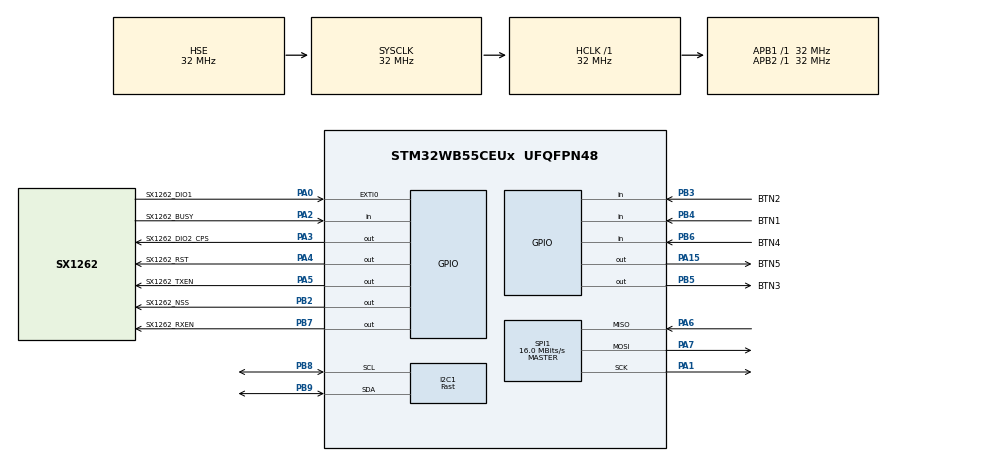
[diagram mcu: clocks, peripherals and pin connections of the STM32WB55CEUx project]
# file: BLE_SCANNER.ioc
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I2C1.I2C_Speed_Mode=I2C_Fast
I2C1.Timing=0x0060112F
Mcu.Family=STM32WB
Mcu.Name=STM32WB55CEUx
Mcu.Package=UFQFPN48
NVIC.HSEM_IRQn=true\:0\:0\:false\:false\:true\:false\:true\:true
NVIC.PriorityGroup=NVIC_PRIORITYGROUP_4
OSC_IN.Mode=HSE-External-Oscillator
OSC_IN.Signal=RCC_OSC_IN
OSC_OUT.Mode=HSE-External-Oscillator
OSC_OUT.Signal=RCC_OSC_OUT
PA0.GPIO_Label=SX1262_DIO1
PA0.Signal=GPXTI0
PA1.Mode=Full_Duplex_Master
PA1.Signal=SPI1_SCK
PA10.Signal=USART1_RX
PA15.GPIO_Label=BTN5
PA15.Signal=GPIO_Output
PA2.GPIO_Label=SX1262_BUSY
PA2.Signal=GPIO_Input
PA3.GPIO_Label=SX1262_DIO2_CPS
PA3.Signal=GPIO_Output
PA4.GPIO_Label=SX1262_RST
PA4.Signal=GPIO_Output
PA5.GPIO_Label=SX1262_TXEN
PA5.Signal=GPIO_Output
PA6.Mode=Full_Duplex_Master
PA6.Signal=SPI1_MISO
PA7.Mode=Full_Duplex_Master
PA7.Signal=SPI1_MOSI
PB2.GPIO_Label=SX1262_NSS
PB2.Signal=GPIO_Output
PB3.GPIO_Label=BTN2
PB3.Signal=GPIO_Input
PB4.GPIO_Label=BTN1
PB4.Signal=GPIO_Input
PB5.GPIO_Label=BTN3
PB5.Signal=GPIO_Output
PB6.GPIO_Label=BTN4
PB6.Signal=GPIO_Input
PB7.GPIO_Label=SX1262_RXEN
PB7.Signal=GPIO_Output
PB8.Mode=I2C
PB8.Signal=I2C1_SCL
PB9.Mode=I2C
PB9.Signal=I2C1_SDA
PC14-OSC32_IN.Mode=LSE-External-Oscillator
PC14-OSC32_IN.Signal=RCC_OSC32_IN
PC15-OSC32_OUT.Mode=LSE-External-Oscillator
PC15-OSC32_OUT.Signal=RCC_OSC32_OUT
ProjectManager.HeapSize=0x200
ProjectManager.StackSize=0x400
ProjectManager.TargetToolchain=STM32CubeIDE
RCC.ADCFreq_Value=128000000
RCC.AHBFreq_Value=32000000
RCC.APB1Freq_Value=32000000
RCC.APB1TimFreq_Value=32000000
RCC.APB2Freq_Value=32000000
RCC.APB2TimFreq_Value=32000000
RCC.APB3Freq_Value=16000000
RCC.CortexFreq_Value=32000000
RCC.HCLKFreq_Value=32000000
RCC.HSE_VALUE=32000000
RCC.HSI48_VALUE=48000000
RCC.HSI_VALUE=16000000
RCC.MSIClockRange=RCC_MSIRANGE_10
RCC.RFWKPClockSelection=RCC_RFWKPCLKSOURCE_LSE
RCC.RTCClockSelection=RCC_RTCCLKSOURCE_LSE
RCC.SMPSCLockSelection=RCC_SMPSCLKSOURCE_HSE
RCC.SMPSDivider=4
RCC.SYSCLKFreq_VALUE=32000000
RCC.SYSCLKSource=RCC_SYSCLKSOURCE_HSE
RCC.USBFreq_Value=128000000
RCC.VCOOutputFreq_Value=256000000
RF1.Mode=RF1_Activate
RF1.Signal=RF_RF1
SPI1.CalculateBaudRate=16.0 MBits/s
SPI1.DataSize=SPI_DATASIZE_8BIT
SPI1.Direction=SPI_DIRECTION_2LINES
SPI1.Mode=SPI_MODE_MASTER
SPI1.VirtualType=VM_MASTER
STM32_WPAN.BLE_APPLICATION_TYPE=BLE_CLIENT_PROFILE
VP_HSEM_VS_HSEM.Mode=HSEM_Activate
VP_IPCC_VS_IPCC.Mode=IPCC_Activate
VP_MEMORYMAP_VS_MEMORYMAP.Mode=CurAppReg
VP_RTC_VS_RTC_Activate.Mode=RTC_Enabled
VP_SEQUENCER_VS_SEQUENCER.Mode=SEQUENCER_Enabled
VP_STM32_WPAN_VS_BLE_HOST.Mode=STM32_WPAN_Enabled
VP_TIM1_VS_ClockSourceITR.Mode=TriggerSource_ITR0
VP_TIM1_VS_ControllerModeClock.Mode=Clock Mode
VP_TINY_LPM_VS_TINY_LPM.Mode=TINY_LPM_Enabled
board=custom

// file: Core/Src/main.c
/* USER CODE BEGIN Header */
/**
  ******************************************************************************
  * @file           : main.c
  * @brief          : Main program body
  ******************************************************************************
  * @attention
  *
  * Copyright (c) 2026 STMicroelectronics.
  * All rights reserved.
  *
  * This software is licensed under terms that can be found in the LICENSE file
  * in the root directory of this software component.
  * If no LICENSE file comes with this software, it is provided AS-IS.
  *
  ******************************************************************************
  */
/* USER CODE END Header */
#include "main.h"

/* USER CODE BEGIN Includes */
#include "ssd1306.h"
#include "fonts.h"
#include "app_ble.h"
#include "ble_gap_aci.h"
#include "stm32_seq.h"
#include <stdio.h>
/* USER CODE END Includes */

I2C_HandleTypeDef hi2c1;

IPCC_HandleTypeDef hipcc;

RTC_HandleTypeDef hrtc;

SPI_HandleTypeDef hspi1;

TIM_HandleTypeDef htim1;

void SystemClock_Config(void);
void PeriphCommonClock_Config(void);
static void MX_GPIO_Init(void);
static void MX_I2C1_Init(void);
static void MX_IPCC_Init(void);
static void MX_SPI1_Init(void);
static void MX_TIM1_Init(void);
static void MX_RTC_Init(void);
static void MX_RF_Init(void);
/* USER CODE BEGIN PFP */
void Button1_Poll(void);
void Write_TO_OLED();
void BLE_RECIEVE();
/* USER CODE END PFP */

/* USER CODE BEGIN 0 */
volatile uint8_t display_toggle = 1;
char oled_buffer[24];
int BLE_R = 0;
int BLE_M = 0;
int BLE_Dis = 1;
uint32_t now;
uint32_t last_update = 0;
const uint32_t update_interval = 1000;
/* USER CODE END 0 */

int main(void)
{

  /* MCU Configuration--------------------------------------------------------*/

  /* Reset of all peripherals, Initializes the Flash interface and the Systick. */
  HAL_Init();
  /* Config code for STM32_WPAN (HSE Tuning must be done before system clock configuration) */
  MX_APPE_Config();

  /* Configure the system clock */
  SystemClock_Config();

  /* Configure the peripherals common clocks */
  PeriphCommonClock_Config();

  /* IPCC initialisation */
  MX_IPCC_Init();

  /* Initialize all configured peripherals */
  MX_GPIO_Init();
  MX_I2C1_Init();
  MX_SPI1_Init();
  MX_TIM1_Init();
  MX_RTC_Init();
  MX_RF_Init();
  /* USER CODE BEGIN 2 */
	SSD1306_Init();
	SSD1306_Clear();
	SSD1306_GotoXY(0, 0);
	SSD1306_Puts("Please Input Command", &Font_7x10, 1);
	SSD1306_UpdateScreen();

  /* USER CODE END 2 */

  /* Init code for STM32_WPAN */
  MX_APPE_Init();

  /* Infinite loop */
  while (1)
  {
    MX_APPE_Process();

    /* USER CODE BEGIN 3 */
	Button1_Poll();
	BLE_RECIEVE();
  }
  /* USER CODE END 3 */
}

void SystemClock_Config(void)
{
  RCC_OscInitTypeDef RCC_OscInitStruct = {0};
  RCC_ClkInitTypeDef RCC_ClkInitStruct = {0};

  /** Configure LSE Drive Capability
  */
  HAL_PWR_EnableBkUpAccess();
  __HAL_RCC_LSEDRIVE_CONFIG(RCC_LSEDRIVE_MEDIUMHIGH);

  /** Configure the main internal regulator output voltage
  */
  __HAL_PWR_VOLTAGESCALING_CONFIG(PWR_REGULATOR_VOLTAGE_SCALE1);

  /** Initializes the RCC Oscillators according to the specified parameters
  * in the RCC_OscInitTypeDef structure.
  */
  RCC_OscInitStruct.OscillatorType = RCC_OSCILLATORTYPE_HSI|RCC_OSCILLATORTYPE_HSE
                              |RCC_OSCILLATORTYPE_LSE;
  RCC_OscInitStruct.HSEState = RCC_HSE_ON;
  RCC_OscInitStruct.LSEState = RCC_LSE_ON;
  RCC_OscInitStruct.HSIState = RCC_HSI_ON;
  RCC_OscInitStruct.HSICalibrationValue = RCC_HSICALIBRATION_DEFAULT;
  RCC_OscInitStruct.PLL.PLLState = RCC_PLL_NONE;
  if (HAL_RCC_OscConfig(&RCC_OscInitStruct) != HAL_OK)
  {
    Error_Handler();
  }

  /** Configure the SYSCLKSource, HCLK, PCLK1 and PCLK2 clocks dividers
  */
  RCC_ClkInitStruct.ClockType = RCC_CLOCKTYPE_HCLK4|RCC_CLOCKTYPE_HCLK2
                              |RCC_CLOCKTYPE_HCLK|RCC_CLOCKTYPE_SYSCLK
                              |RCC_CLOCKTYPE_PCLK1|RCC_CLOCKTYPE_PCLK2;
  RCC_ClkInitStruct.SYSCLKSource = RCC_SYSCLKSOURCE_HSE;
  RCC_ClkInitStruct.AHBCLKDivider = RCC_SYSCLK_DIV1;
  RCC_ClkInitStruct.APB1CLKDivider = RCC_HCLK_DIV1;
  RCC_ClkInitStruct.APB2CLKDivider = RCC_HCLK_DIV1;
  RCC_ClkInitStruct.AHBCLK2Divider = RCC_SYSCLK_DIV1;
  RCC_ClkInitStruct.AHBCLK4Divider = RCC_SYSCLK_DIV1;

  if (HAL_RCC_ClockConfig(&RCC_ClkInitStruct, FLASH_LATENCY_1) != HAL_OK)
  {
    Error_Handler();
  }
}

void PeriphCommonClock_Config(void)
{
  RCC_PeriphCLKInitTypeDef PeriphClkInitStruct = {0};

  /** Initializes the peripherals clock
  */
  PeriphClkInitStruct.PeriphClockSelection = RCC_PERIPHCLK_SMPS|RCC_PERIPHCLK_RFWAKEUP;
  PeriphClkInitStruct.RFWakeUpClockSelection = RCC_RFWKPCLKSOURCE_LSE;
  PeriphClkInitStruct.SmpsClockSelection = RCC_SMPSCLKSOURCE_HSE;
  PeriphClkInitStruct.SmpsDivSelection = RCC_SMPSCLKDIV_RANGE1;

  if (HAL_RCCEx_PeriphCLKConfig(&PeriphClkInitStruct) != HAL_OK)
  {
    Error_Handler();
  }
}

static void MX_I2C1_Init(void)
{

  hi2c1.Instance = I2C1;
  hi2c1.Init.Timing = 0x0060112F;
  hi2c1.Init.OwnAddress1 = 0;
  hi2c1.Init.AddressingMode = I2C_ADDRESSINGMODE_7BIT;
  hi2c1.Init.DualAddressMode = I2C_DUALADDRESS_DISABLE;
  hi2c1.Init.OwnAddress2 = 0;
  hi2c1.Init.OwnAddress2Masks = I2C_OA2_NOMASK;
  hi2c1.Init.GeneralCallMode = I2C_GENERALCALL_DISABLE;
  hi2c1.Init.NoStretchMode = I2C_NOSTRETCH_DISABLE;
  if (HAL_I2C_Init(&hi2c1) != HAL_OK)
  {
    Error_Handler();
  }

  /** Configure Analogue filter
  */
  if (HAL_I2CEx_ConfigAnalogFilter(&hi2c1, I2C_ANALOGFILTER_ENABLE) != HAL_OK)
  {
    Error_Handler();
  }

  /** Configure Digital filter
  */
  if (HAL_I2CEx_ConfigDigitalFilter(&hi2c1, 0) != HAL_OK)
  {
    Error_Handler();
  }

}

static void MX_IPCC_Init(void)
{

  hipcc.Instance = IPCC;
  if (HAL_IPCC_Init(&hipcc) != HAL_OK)
  {
    Error_Handler();
  }

}

static void MX_RF_Init(void)
{

}

static void MX_RTC_Init(void)
{

  /** Initialize RTC Only
  */
  hrtc.Instance = RTC;
  hrtc.Init.HourFormat = RTC_HOURFORMAT_24;
  hrtc.Init.AsynchPrediv = CFG_RTC_ASYNCH_PRESCALER;
  hrtc.Init.SynchPrediv = CFG_RTC_SYNCH_PRESCALER;
  hrtc.Init.OutPut = RTC_OUTPUT_DISABLE;
  hrtc.Init.OutPutPolarity = RTC_OUTPUT_POLARITY_HIGH;
  hrtc.Init.OutPutType = RTC_OUTPUT_TYPE_OPENDRAIN;
  hrtc.Init.OutPutRemap = RTC_OUTPUT_REMAP_NONE;
  if (HAL_RTC_Init(&hrtc) != HAL_OK)
  {
    Error_Handler();
  }

}

static void MX_SPI1_Init(void)
{

  /* SPI1 parameter configuration*/
  hspi1.Instance = SPI1;
  hspi1.Init.Mode = SPI_MODE_MASTER;
  hspi1.Init.Direction = SPI_DIRECTION_2LINES;
  hspi1.Init.DataSize = SPI_DATASIZE_8BIT;
  hspi1.Init.CLKPolarity = SPI_POLARITY_LOW;
  hspi1.Init.CLKPhase = SPI_PHASE_1EDGE;
  hspi1.Init.NSS = SPI_NSS_SOFT;
  hspi1.Init.BaudRatePrescaler = SPI_BAUDRATEPRESCALER_2;
  hspi1.Init.FirstBit = SPI_FIRSTBIT_MSB;
  hspi1.Init.TIMode = SPI_TIMODE_DISABLE;
  hspi1.Init.CRCCalculation = SPI_CRCCALCULATION_DISABLE;
  hspi1.Init.CRCPolynomial = 7;
  hspi1.Init.CRCLength = SPI_CRC_LENGTH_DATASIZE;
  hspi1.Init.NSSPMode = SPI_NSS_PULSE_ENABLE;
  if (HAL_SPI_Init(&hspi1) != HAL_OK)
  {
    Error_Handler();
  }

}

static void MX_TIM1_Init(void)
{

  TIM_SlaveConfigTypeDef sSlaveConfig = {0};
  TIM_MasterConfigTypeDef sMasterConfig = {0};

  htim1.Instance = TIM1;
  htim1.Init.Prescaler = 0;
  htim1.Init.CounterMode = TIM_COUNTERMODE_UP;
  htim1.Init.Period = 65535;
  htim1.Init.ClockDivision = TIM_CLOCKDIVISION_DIV1;
  htim1.Init.RepetitionCounter = 0;
  htim1.Init.AutoReloadPreload = TIM_AUTORELOAD_PRELOAD_DISABLE;
  if (HAL_TIM_Base_Init(&htim1) != HAL_OK)
  {
    Error_Handler();
  }
  sSlaveConfig.SlaveMode = TIM_SLAVEMODE_EXTERNAL1;
  sSlaveConfig.InputTrigger = TIM_TS_ITR0;
  if (HAL_TIM_SlaveConfigSynchro(&htim1, &sSlaveConfig) != HAL_OK)
  {
    Error_Handler();
  }
  sMasterConfig.MasterOutputTrigger = TIM_TRGO_RESET;
  sMasterConfig.MasterOutputTrigger2 = TIM_TRGO2_RESET;
  sMasterConfig.MasterSlaveMode = TIM_MASTERSLAVEMODE_DISABLE;
  if (HAL_TIMEx_MasterConfigSynchronization(&htim1, &sMasterConfig) != HAL_OK)
  {
    Error_Handler();
  }

}

static void MX_GPIO_Init(void)
{
  GPIO_InitTypeDef GPIO_InitStruct = {0};

  /* GPIO Ports Clock Enable */
  __HAL_RCC_GPIOC_CLK_ENABLE();
  __HAL_RCC_GPIOB_CLK_ENABLE();
  __HAL_RCC_GPIOA_CLK_ENABLE();

  /*Configure GPIO pin Output Level */
  HAL_GPIO_WritePin(GPIOA, SX1262_DIO2_CPS_Pin|SX1262_RST_Pin|SX1262_TXEN_Pin|BTN5_Pin, GPIO_PIN_RESET);

  /*Configure GPIO pin Output Level */
  HAL_GPIO_WritePin(GPIOB, SX1262_NSS_Pin|BTN3_Pin|SX1262_RXEN_Pin, GPIO_PIN_RESET);

  /*Configure GPIO pin : SX1262_DIO1_Pin */
  GPIO_InitStruct.Pin = SX1262_DIO1_Pin;
  GPIO_InitStruct.Mode = GPIO_MODE_IT_RISING;
  GPIO_InitStruct.Pull = GPIO_NOPULL;
  HAL_GPIO_Init(SX1262_DIO1_GPIO_Port, &GPIO_InitStruct);

  /*Configure GPIO pin : SX1262_BUSY_Pin */
  GPIO_InitStruct.Pin = SX1262_BUSY_Pin;
  GPIO_InitStruct.Mode = GPIO_MODE_INPUT;
  GPIO_InitStruct.Pull = GPIO_NOPULL;
  HAL_GPIO_Init(SX1262_BUSY_GPIO_Port, &GPIO_InitStruct);

  /*Configure GPIO pins : SX1262_DIO2_CPS_Pin SX1262_RST_Pin SX1262_TXEN_Pin BTN5_Pin */
  GPIO_InitStruct.Pin = SX1262_DIO2_CPS_Pin|SX1262_RST_Pin|SX1262_TXEN_Pin|BTN5_Pin;
  GPIO_InitStruct.Mode = GPIO_MODE_OUTPUT_PP;
  GPIO_InitStruct.Pull = GPIO_NOPULL;
  GPIO_InitStruct.Speed = GPIO_SPEED_FREQ_LOW;
  HAL_GPIO_Init(GPIOA, &GPIO_InitStruct);

  /*Configure GPIO pins : SX1262_NSS_Pin BTN3_Pin SX1262_RXEN_Pin */
  GPIO_InitStruct.Pin = SX1262_NSS_Pin|BTN3_Pin|SX1262_RXEN_Pin;
  GPIO_InitStruct.Mode = GPIO_MODE_OUTPUT_PP;
  GPIO_InitStruct.Pull = GPIO_NOPULL;
  GPIO_InitStruct.Speed = GPIO_SPEED_FREQ_LOW;
  HAL_GPIO_Init(GPIOB, &GPIO_InitStruct);

  /*Configure GPIO pin : PA10 */
  GPIO_InitStruct.Pin = GPIO_PIN_10;
  GPIO_InitStruct.Mode = GPIO_MODE_AF_PP;
  GPIO_InitStruct.Pull = GPIO_NOPULL;
  GPIO_InitStruct.Speed = GPIO_SPEED_FREQ_LOW;
  GPIO_InitStruct.Alternate = GPIO_AF7_USART1;
  HAL_GPIO_Init(GPIOA, &GPIO_InitStruct);

  /*Configure GPIO pins : BTN2_Pin BTN1_Pin BTN4_Pin */
  GPIO_InitStruct.Pin = BTN2_Pin|BTN1_Pin|BTN4_Pin;
  GPIO_InitStruct.Mode = GPIO_MODE_INPUT;
  GPIO_InitStruct.Pull = GPIO_NOPULL;
  HAL_GPIO_Init(GPIOB, &GPIO_InitStruct);

}

/* USER CODE BEGIN 4 */
void Write_TO_OLED() {
	float temperature_c;
	float humidity_percent;

	/*
	 * Convert raw SHT41 temperature to Celsius
	 *
	 * T = -45 + 175 * (raw / 65535)
	 */
	temperature_c = -45.0f
			+ (315.0f * ((float) g_tlm_data.temperature_raw / 65535.0f));

	/*
	 * Convert raw SHT41 humidity to %RH
	 *
	 * RH = -6 + 125 * (raw / 65535)
	 */
	humidity_percent = -6.0f
			+ (125.0f * ((float) g_tlm_data.battery_mv / 65535.0f));

	/*
	 * Limit humidity to the valid range
	 */
	if (humidity_percent < 0.0f) {
		humidity_percent = 0.0f;
	}

	if (humidity_percent > 100.0f) {
		humidity_percent = 100.0f;
	}

	/*
	 * Display temperature
	 *
	 * Using %.1f gives one decimal place.
	 */
	snprintf(oled_buffer, sizeof(oled_buffer), "TEMP: %.1f  F", temperature_c);

//	SSD1306_Clear();

	SSD1306_GotoXY(0, 0);
	SSD1306_Puts("EDDYSTONE TLM", &Font_7x10, 1);

	SSD1306_GotoXY(0, 14);
	SSD1306_Puts(oled_buffer, &Font_7x10, 1);

	/*
	 * Display humidity
	 */
	snprintf(oled_buffer, sizeof(oled_buffer), "HUM: %.1f  %%",
			humidity_percent);

	SSD1306_GotoXY(0, 27);
	SSD1306_Puts(oled_buffer, &Font_7x10, 1);

	/*
	 * Display raw temperature for debugging
	 */
	snprintf(oled_buffer, sizeof(oled_buffer), "TRAW: %u",
			(unsigned int) g_tlm_data.temperature_raw);

	SSD1306_GotoXY(0, 40);
	SSD1306_Puts(oled_buffer, &Font_7x10, 1);

	/*
	 * Display raw humidity for debugging
	 */
	snprintf(oled_buffer, sizeof(oled_buffer), "HRAW: %u",
			(unsigned int) g_tlm_data.battery_mv);

	SSD1306_GotoXY(0, 53);
	SSD1306_Puts(oled_buffer, &Font_7x10, 1);

	SSD1306_UpdateScreen();

}

void BLE_RECIEVE()
{
   // update every 500ms
	if (display_toggle)   // BUTTON_1 toggles this
			{
		UTIL_SEQ_SetTask(1 << CFG_TASK_START_SCAN_ID, CFG_SCH_PRIO_0);
				if (g_tlm_data.valid) {
					now = HAL_GetTick();

					if (now - last_update >= update_interval) {
						last_update = now;
						Write_TO_OLED();
						g_tlm_data.valid = 0;   // Clear flag until next TLM frame
						BLE_R = 1;
						BLE_M = 0;
					}

				}
				else if (!g_tlm_data.valid && BLE_M == 0) {
					now = HAL_GetTick();
					if (now - last_update >= update_interval + 5000) {
						last_update = now;
						SSD1306_Clear();
						SSD1306_GotoXY(0, 0);
						SSD1306_Puts("BLE Missing...", &Font_7x10, 1);
						SSD1306_UpdateScreen();
						BLE_R = 0;
						BLE_M = 1;
					}
				}
				BLE_Dis = 0;
			}
	else if (!display_toggle && BLE_Dis == 0) {
		aci_gap_terminate_gap_proc(GAP_GENERAL_DISCOVERY_PROC);
		now = HAL_GetTick();
		if (now - last_update >= update_interval) {
			last_update = now;
			SSD1306_Clear();
			SSD1306_GotoXY(0, 0);
			SSD1306_Puts("Scan Disabled...", &Font_7x10, 1);
			SSD1306_UpdateScreen();
			BLE_Dis = 1;
		}
	}
}

void Button1_Poll(void){
    static uint8_t last_state = 0;
    uint8_t current_state = HAL_GPIO_ReadPin(BTN1_GPIO_Port, BTN1_Pin);

    // Detect rising edge (button press)
    if (current_state == GPIO_PIN_SET && last_state == 0)
    {
        HAL_Delay(20); // debounce
        if (HAL_GPIO_ReadPin(BTN1_GPIO_Port, BTN1_Pin) == GPIO_PIN_SET)
        {
            display_toggle ^= 1;   // Toggle display mode
        }
    }

    last_state = current_state;
}

/* USER CODE END 4 */

void Error_Handler(void)
{
  __disable_irq();
  while (1)
  {
  }
}
